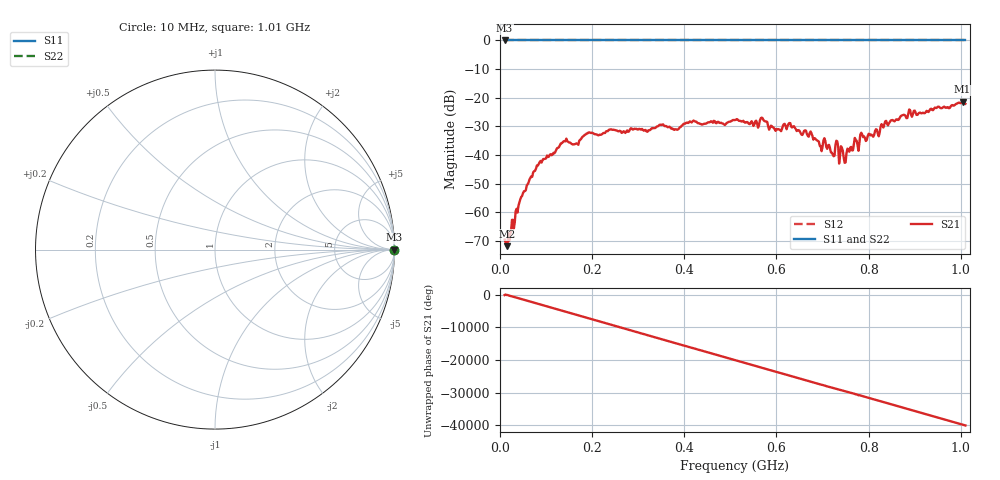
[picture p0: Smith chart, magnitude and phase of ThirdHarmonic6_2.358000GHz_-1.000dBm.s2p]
! 8/17/2025 3:36:15 AM
! C:\ANRITSUVNA\TEMP\TEMP.S2P
! CHANNEL.1
! TR.MEASUREMENT
! RAW.DATA
! RF.CORRECTION.OFF
! AVERAGING.OFF
! IF.BANDWIDTH: 5KHZ
! SWEEPTYPE:  FREQ.SWEEP(Linear)
! Reference Plane Port Info
! PORT:  PORT1  PORT2
! DISTANCE:  0  m  0  m
! TIME:  0  s  0  s
! PHASE.OFFSET:  0  deg.  0  deg.
! LOSS:  0  dB  0  dB
! REF.LOSS:  0  dB  0  dB
! REF.FREQ:  0  Hz  0  Hz
! Power Info
! POWER:  -20  dBm  -20  dBm
! EFF.POWER:  -20  dBm  -20  dBm
! SOURCE.ATTEN:  0  dB  0  dB
! TEST.ATTEN:  0  dB  0  dB
# GHZ S RI R 50.0
! FREQ.GHZ  S11RE  S11IM  S21RE  S21IM  S12RE  S12IM  S22RE  S22IM
!; PortSelection: Port_12
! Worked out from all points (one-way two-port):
!   501 points, 10 MHz to 1.01 GHz, reference 50 ohm
!   highest |S21| = -21.36 dB at 1.004 GHz (marker M1); lowest = -71.9 dB at 16 MHz (marker M2)
!   lowest |S11| = 0.0 dB at 10 MHz (marker M3)
!   |S11| at or under -10 dB: nowhere
!   |S22| runs from 0.0 to 0.0 dB; largest |S21 - S12| = 1.1
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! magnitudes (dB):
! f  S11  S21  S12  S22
! 10 MHz  0.0  -69.6  0.0  0.0
! 16 MHz  0.0  -71.9  0.0  0.0
! 46 MHz  0.0  -54.7  0.0  0.0
! 84 MHz  0.0  -43.2  0.0  0.0
! 140 MHz  0.0  -35.2  0.0  0.0
! 166 MHz  0.0  -35.9  0.0  0.0
! 178 MHz  0.0  -33.9  0.0  0.0
! 344 MHz  0.0  -29.9  0.0  0.0
! 382 MHz  0.0  -31.0  0.0  0.0
! 416 MHz  0.0  -28.7  0.0  0.0
! 510 MHz  0.0  -27.8  0.0  0.0
! 570 MHz  0.0  -27.2  0.0  0.0
! 598 MHz  0.0  -31.6  0.0  0.0
! 628 MHz  0.0  -28.9  0.0  0.0
! 678 MHz  0.0  -33.3  0.0  0.0
! 722 MHz  0.0  -39.8  0.0  0.0
! 730 MHz  0.0  -35.0  0.0  0.0
! 748 MHz  0.0  -42.8  0.0  0.0
! 786 MHz  0.0  -32.8  0.0  0.0
! 844 MHz  0.0  -29.0  0.0  0.0
! 1.004 GHz  0.0  -21.4  0.0  0.0
! 1.01 GHz  0.0  -22.1  0.0  0.0
